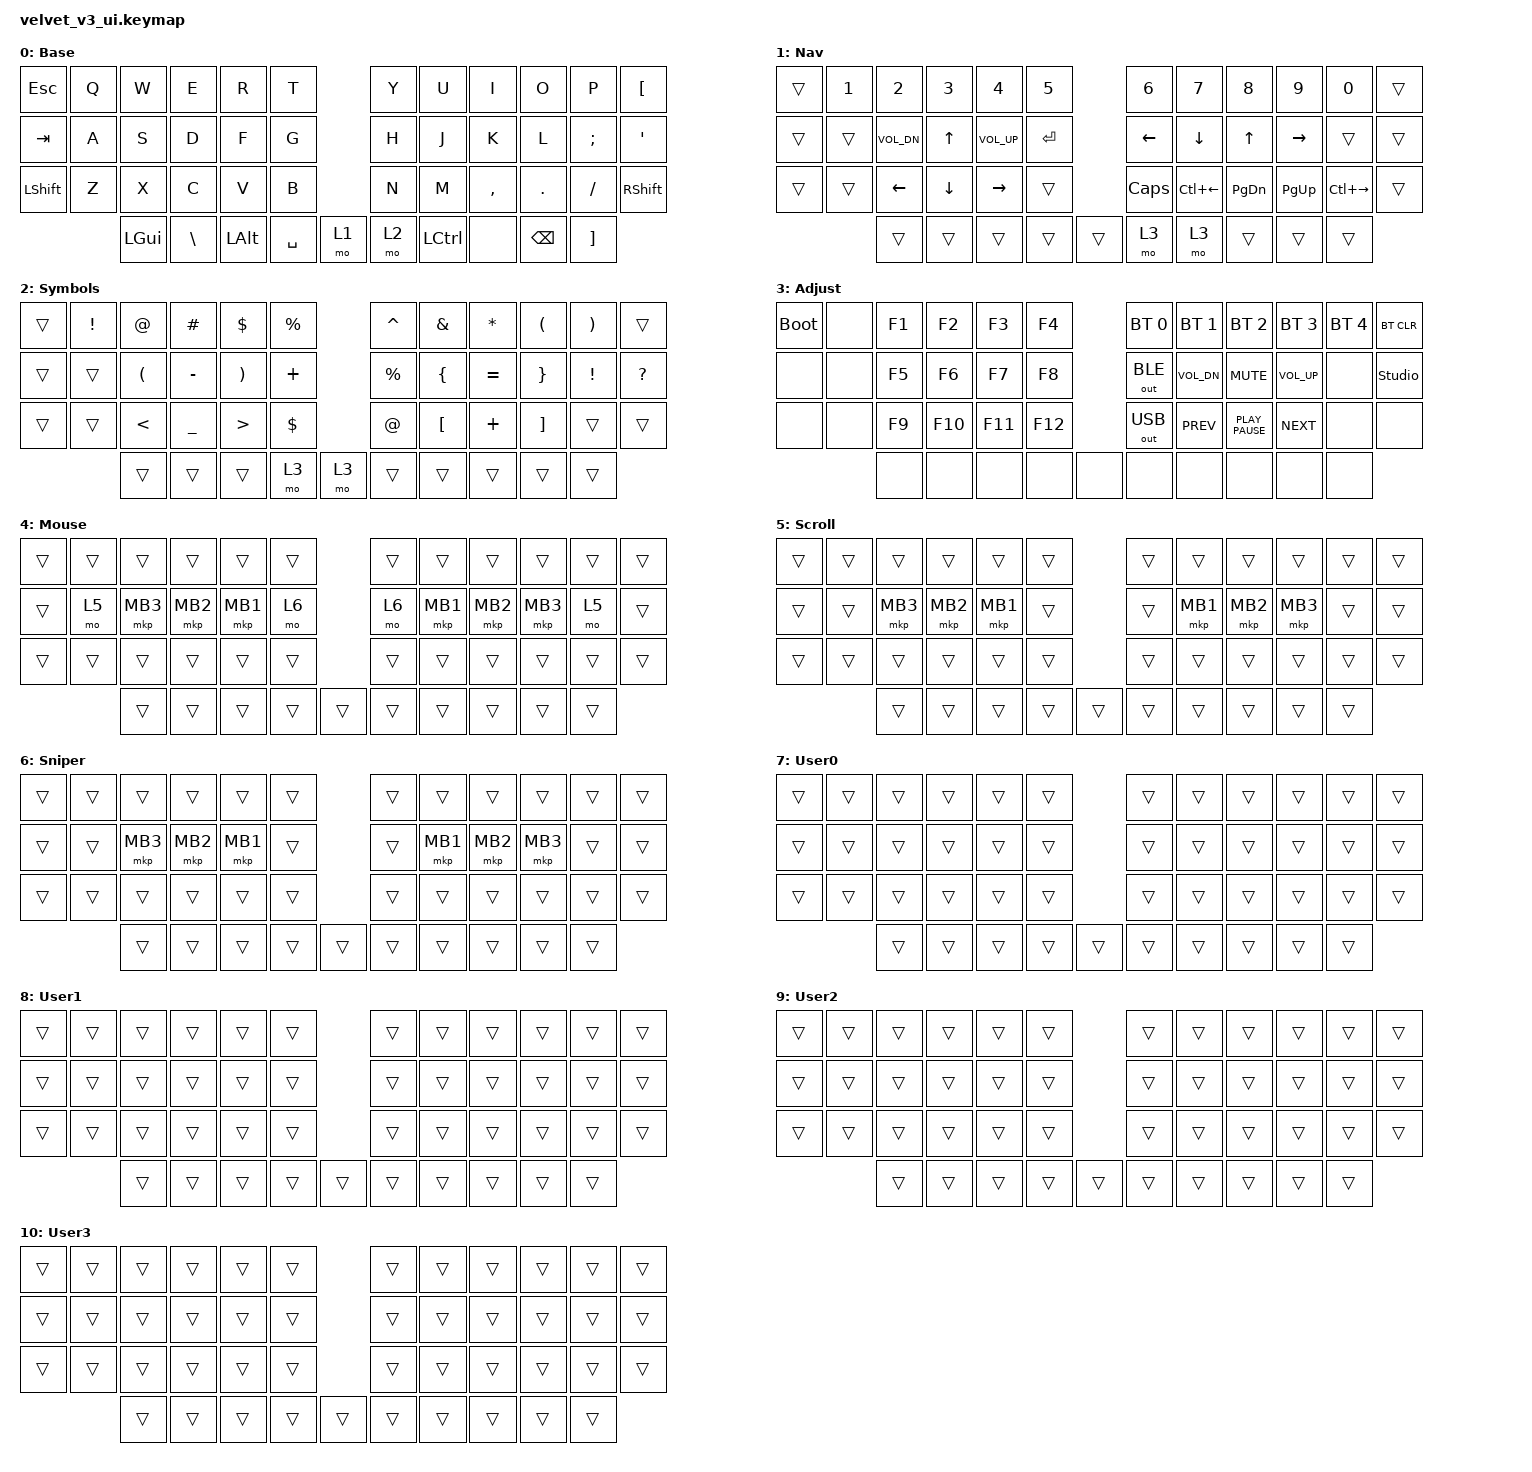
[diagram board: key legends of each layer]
#include "keys_ru.h"
#include <dt-bindings/zmk/input_transform.h>
#include <input/processors.dtsi>
#include <zephyr/dt-bindings/input/input-event-codes.h>
#include <behaviors.dtsi>
#include <dt-bindings/zmk/bt.h>
#include <dt-bindings/zmk/keys.h>
#include <dt-bindings/zmk/outputs.h>
#include <dt-bindings/zmk/pointing.h>

/ {
    behaviors {
        cap_sen: cap_sen {
            compatible = "zmk,behavior-hold-tap";
            label = "CAP_SEN";
            bindings = <&mo>, <&mkp>;

            #binding-cells = <2>;
            tapping-term-ms = <150>;
            hold-while-undecided;
        };

        mouse_layer: mouse_layer {
            compatible = "zmk,behavior-sticky-key";
            label = "MOUSE_LAYER";
            bindings = <&mo>;
            #binding-cells = <1>;
            release-after-ms = <200>;
        };

        zip_auto_mouse: zip_auto_mouse {
            compatible = "zmk,input-processor-temp-layer";
            #input-processor-cells = <2>;
            require-prior-idle-ms = <800>;
            excluded-positions = <>;
        };
    };

    keymap {
        compatible = "zmk,keymap";

        base {
            bindings = <
&kp ESC    &kp Q  &kp W         &kp E          &kp R     &kp T                      &kp Y      &kp U  &kp I          &kp O     &kp P      &kp LEFT_BRACKET
&kp TAB    &kp A  &kp S         &kp D          &kp F     &kp G                      &kp H      &kp J  &kp K          &kp L     &kp SEMI   &kp SQT
&kp LSHFT  &kp Z  &kp X         &kp C          &kp V     &kp B                      &kp N      &kp M  &kp COMMA      &kp DOT   &kp SLASH  &kp RSHFT
                  &kp LEFT_GUI  &kp BACKSLASH  &kp LALT  &kp SPACE  &mo 1    &mo 2  &kp LCTRL  &none  &kp BACKSPACE  &kp RBKT
            >;

            display-name = "Base";
        };

        nav {
            bindings = <
&trans  &kp N1  &kp N2          &kp N3          &kp N4           &kp N5                    &kp N6    &kp N7        &kp N8         &kp N9       &kp N0         &trans
&trans  &trans  &kp C_VOL_DN    &kp UP          &kp C_VOL_UP     &kp RET                   &kp LEFT  &kp DOWN      &kp UP         &kp RIGHT    &trans         &trans
&trans  &trans  &kp LEFT_ARROW  &kp DOWN_ARROW  &kp RIGHT_ARROW  &trans                    &kp CLCK  &kp LC(LEFT)  &kp PAGE_DOWN  &kp PAGE_UP  &kp LC(RIGHT)  &trans
                &trans          &trans          &trans           &trans   &trans    &mo 3  &mo 3     &trans        &trans         &trans
            >;

            display-name = "Nav";
        };

        sym {
            bindings = <
&trans  &kp EXCL  &kp AT    &kp HASH   &kp DLLR  &kp PRCNT                   &kp CARET  &kp AMPERSAND     &kp ASTRK  &kp LPAR           &kp RPAR  &trans
&trans  &trans    &kp LPAR  &kp MINUS  &kp RPAR  &kp PLUS                    &kp PRCNT  &kp LBRC          &kp EQUAL  &kp RBRC           &kp EXCL  &kp QUESTION
&trans  &trans    &kp LT    &kp UNDER  &kp GT    &kp DLLR                    &kp AT     &kp LEFT_BRACKET  &kp PLUS   &kp RIGHT_BRACKET  &trans    &trans
                  &trans    &trans     &trans    &mo 3      &mo 3    &trans  &trans     &trans            &trans     &trans
            >;

            display-name = "Symbols";
        };

        adj {
            bindings = <
&bootloader  &none  &kp F1  &kp F2   &kp F3   &kp F4                   &bt BT_SEL 0  &bt BT_SEL 1  &bt BT_SEL 2      &bt BT_SEL 3  &bt BT_SEL 4  &bt BT_CLR
&none        &none  &kp F5  &kp F6   &kp F7   &kp F8                   &out OUT_BLE  &kp C_VOL_DN  &kp K_MUTE        &kp C_VOL_UP  &none         &studio_unlock
&none        &none  &kp F9  &kp F10  &kp F11  &kp F12                  &out OUT_USB  &kp K_PREV    &kp K_PLAY_PAUSE  &kp K_NEXT    &none         &none
                    &none   &none    &none    &none    &none    &none  &none         &none         &none             &none
            >;

            display-name = "Adjust";
        };

        mouse {
            bindings = <
&trans  &trans  &trans    &trans    &trans    &trans                    &trans  &trans    &trans    &trans    &trans  &trans
&trans  &mo 5   &mkp MB3  &mkp MB2  &mkp MB1  &mo 6                     &mo 6   &mkp MB1  &mkp MB2  &mkp MB3  &mo 5   &trans
&trans  &trans  &trans    &trans    &trans    &trans                    &trans  &trans    &trans    &trans    &trans  &trans
                &trans    &trans    &trans    &trans  &trans    &trans  &trans  &trans    &trans    &trans
            >;

            display-name = "Mouse";
        };

        scroll {
            bindings = <
&trans  &trans  &trans    &trans    &trans    &trans                    &trans  &trans    &trans    &trans    &trans  &trans
&trans  &trans  &mkp MB3  &mkp MB2  &mkp MB1  &trans                    &trans  &mkp MB1  &mkp MB2  &mkp MB3  &trans  &trans
&trans  &trans  &trans    &trans    &trans    &trans                    &trans  &trans    &trans    &trans    &trans  &trans
                &trans    &trans    &trans    &trans  &trans    &trans  &trans  &trans    &trans    &trans
            >;

            display-name = "Scroll";
        };

        sniper {
            bindings = <
&trans  &trans  &trans    &trans    &trans    &trans                    &trans  &trans    &trans    &trans    &trans  &trans
&trans  &trans  &mkp MB3  &mkp MB2  &mkp MB1  &trans                    &trans  &mkp MB1  &mkp MB2  &mkp MB3  &trans  &trans
&trans  &trans  &trans    &trans    &trans    &trans                    &trans  &trans    &trans    &trans    &trans  &trans
                &trans    &trans    &trans    &trans  &trans    &trans  &trans  &trans    &trans    &trans
            >;

            display-name = "Sniper";
        };

        User0 {
            bindings = <
&trans  &trans  &trans  &trans  &trans  &trans                    &trans  &trans  &trans  &trans  &trans  &trans
&trans  &trans  &trans  &trans  &trans  &trans                    &trans  &trans  &trans  &trans  &trans  &trans
&trans  &trans  &trans  &trans  &trans  &trans                    &trans  &trans  &trans  &trans  &trans  &trans
                &trans  &trans  &trans  &trans  &trans    &trans  &trans  &trans  &trans  &trans
            >;

            display-name = "User0";
        };

        User1 {
            bindings = <
&trans  &trans  &trans  &trans  &trans  &trans                    &trans  &trans  &trans  &trans  &trans  &trans
&trans  &trans  &trans  &trans  &trans  &trans                    &trans  &trans  &trans  &trans  &trans  &trans
&trans  &trans  &trans  &trans  &trans  &trans                    &trans  &trans  &trans  &trans  &trans  &trans
                &trans  &trans  &trans  &trans  &trans    &trans  &trans  &trans  &trans  &trans
            >;

            display-name = "User1";
        };

        User2 {
            bindings = <
&trans  &trans  &trans  &trans  &trans  &trans                    &trans  &trans  &trans  &trans  &trans  &trans
&trans  &trans  &trans  &trans  &trans  &trans                    &trans  &trans  &trans  &trans  &trans  &trans
&trans  &trans  &trans  &trans  &trans  &trans                    &trans  &trans  &trans  &trans  &trans  &trans
                &trans  &trans  &trans  &trans  &trans    &trans  &trans  &trans  &trans  &trans
            >;

            display-name = "User2";
        };

        User3 {
            bindings = <
&trans  &trans  &trans  &trans  &trans  &trans                    &trans  &trans  &trans  &trans  &trans  &trans
&trans  &trans  &trans  &trans  &trans  &trans                    &trans  &trans  &trans  &trans  &trans  &trans
&trans  &trans  &trans  &trans  &trans  &trans                    &trans  &trans  &trans  &trans  &trans  &trans
                &trans  &trans  &trans  &trans  &trans    &trans  &trans  &trans  &trans  &trans
            >;

            display-name = "User3";
        };
    };
};

&trackball { cpi = <1000>; };

&trackball_listener {
    input-processors = <&zip_auto_mouse 4 500>, <&zip_xy_scaler 9 20>;

    scroller {
        layers = <5>;
        input-processors =
            <&zip_xy_transform INPUT_TRANSFORM_Y_INVERT>,
            <&zip_xy_scaler 1 32>,
            <&zip_xy_to_scroll_mapper>;
    };

    sniper {
        layers = <6>;
        input-processors = <&zip_xy_scaler 1 4>;
    };
};
